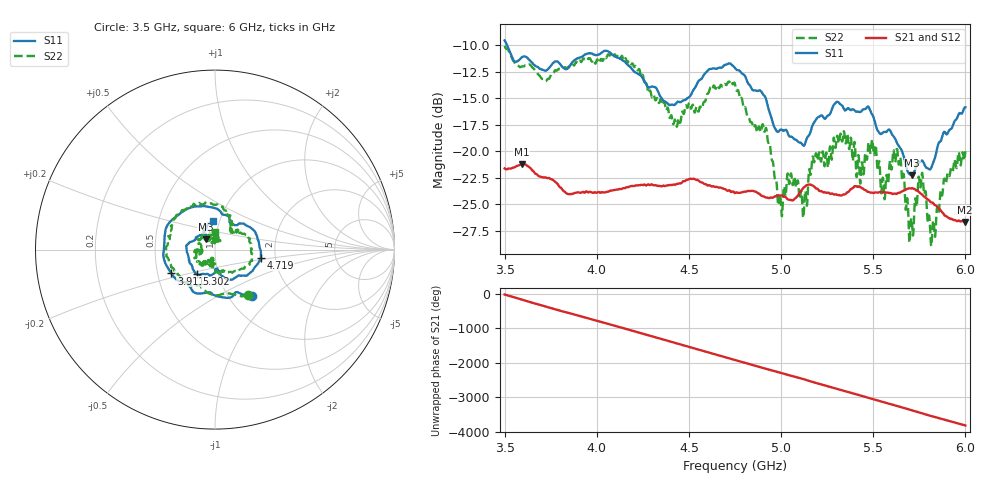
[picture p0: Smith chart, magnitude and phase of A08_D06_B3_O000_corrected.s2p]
! Created with skrf 1.9.0 (http://scikit-rf.org).
# Hz S RI R 50.0
!freq ReS11 ImS11 ReS21 ImS21 ReS12 ImS12 ReS22 ImS22
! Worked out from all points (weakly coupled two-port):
!   1601 points, 3.5 GHz to 6 GHz, reference 50 ohm
!   highest |S21| = -21.21 dB at 3.592 GHz (marker M1); lowest = -26.7 dB at 5.997 GHz (marker M2)
!   lowest |S11| = -22.3 dB at 5.711 GHz (marker M3), VSWR 1.17, Z = 44.9 + j5.24 ohm
!   |S11| at or under -10 dB: 3.513 GHz to end of sweep
!   |S22| runs from -29.0 to -10.1 dB; largest |S21 - S12| = 0.0011
!   S11 on the Smith chart (normalised r, x): 3.5 GHz: 1.28, -0.75; 3.911 GHz: 0.59, -0.17; 4.719 GHz: 1.68, -0.16; 5.302 GHz: 0.79, -0.22; 6 GHz: 0.93, +0.31
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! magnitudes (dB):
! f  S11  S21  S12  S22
! 3.5 GHz  -9.6  -21.6  -21.6  -10.1
! 3.592 GHz  -11.2  -21.2  -21.2  -12.0
! 3.911 GHz  -11.2  -23.9  -23.9  -11.5
! 3.917 GHz  -11.1  -23.9  -23.9  -11.6
! 4.127 GHz  -11.3  -23.6  -23.5  -11.3
! 4.334 GHz  -14.4  -23.3  -23.2  -15.4
! 4.442 GHz  -15.3  -23.1  -23.0  -17.0
! 4.719 GHz  -11.7  -23.7  -23.7  -13.5
! 4.75 GHz  -12.1  -24.0  -23.9  -13.7
! 4.912 GHz  -14.8  -24.3  -24.3  -18.1
! 4.995 GHz  -18.0  -24.2  -24.1  -24.1
! 5.045 GHz  -18.6  -24.6  -24.6  -23.1
! 5.13 GHz  -19.3  -23.3  -23.3  -23.9
! 5.167 GHz  -17.7  -23.2  -23.2  -21.1
! 5.302 GHz  -15.4  -24.1  -24.1  -18.8
! 5.584 GHz  -18.0  -23.9  -23.9  -22.3
! 5.638 GHz  -19.5  -23.9  -23.9  -21.2
! 5.711 GHz  -22.3  -23.5  -23.4  -26.9
! 5.758 GHz  -21.0  -24.0  -23.9  -23.2
! 5.825 GHz  -21.1  -24.9  -24.9  -26.6
! 5.997 GHz  -15.9  -26.7  -26.6  -20.6
! 6 GHz  -15.9  -26.7  -26.6  -20.0
